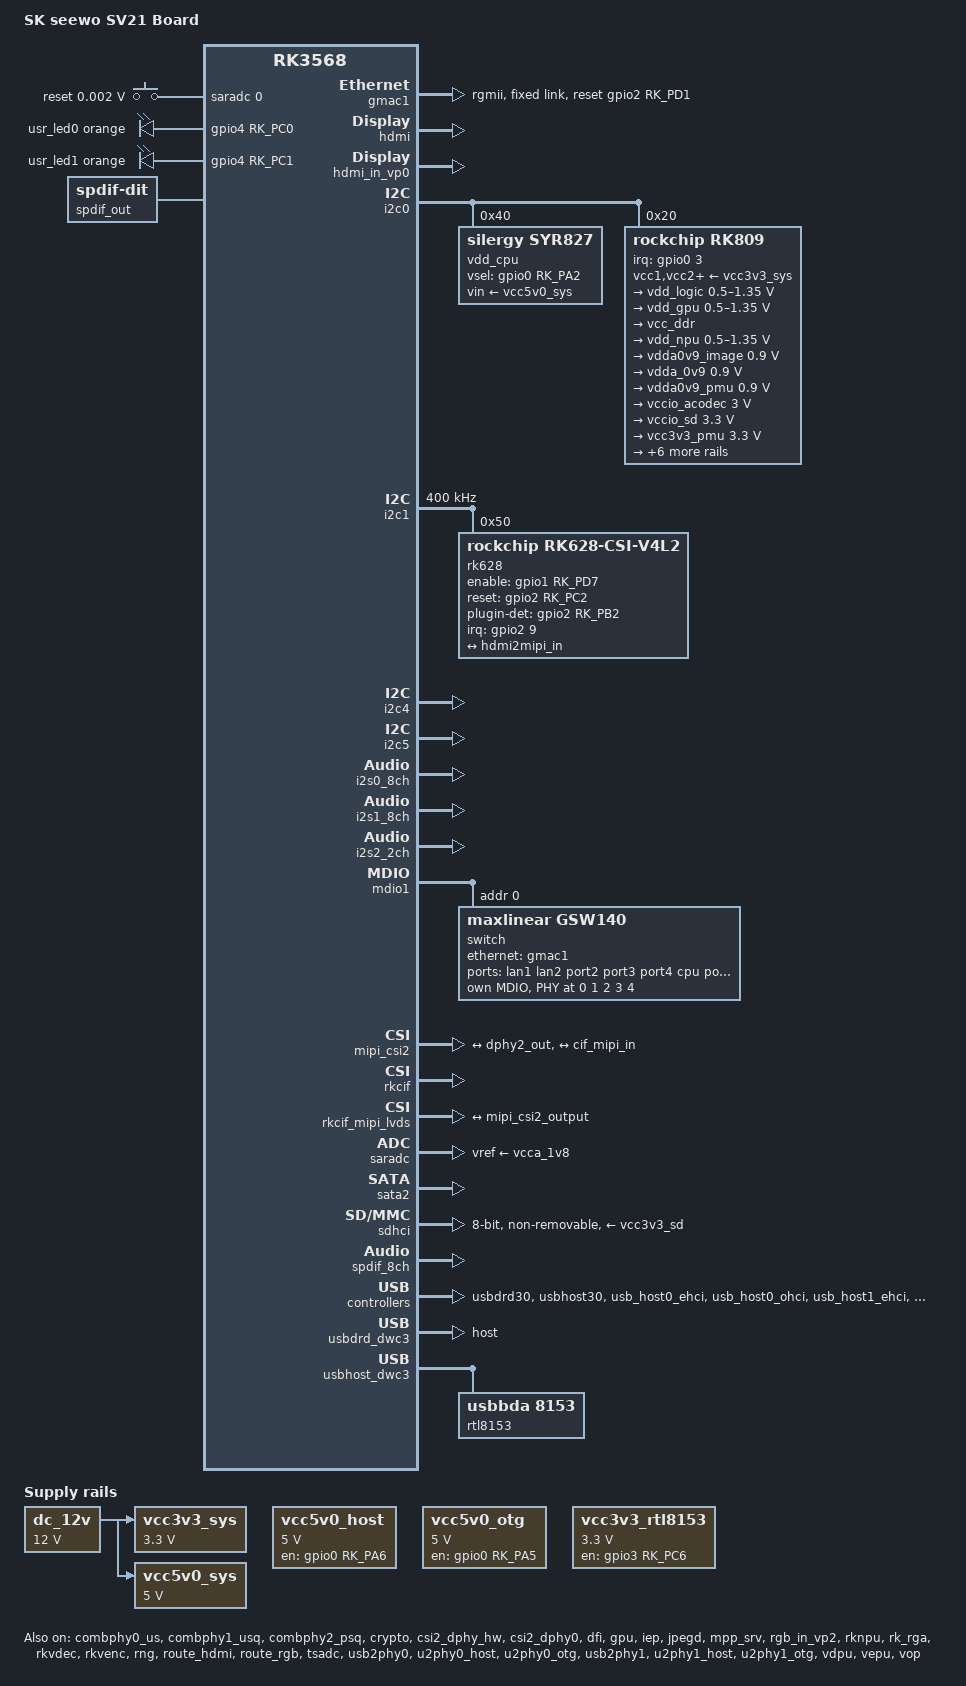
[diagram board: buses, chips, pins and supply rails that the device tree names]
// SPDX-License-Identifier: (GPL-2.0+ OR MIT)
/*
 * Copyright (c) 2020 Rockchip Electronics Co., Ltd.
 * Copyright (c) 2025 Sergey Kharenko
 */

 /dts-v1/;

 #include <dt-bindings/gpio/gpio.h>
 #include <dt-bindings/pwm/pwm.h>
 #include <dt-bindings/pinctrl/rockchip.h>
 #include <dt-bindings/input/rk-input.h>
 #include <dt-bindings/leds/common.h>
 #include <dt-bindings/display/drm_mipi_dsi.h>
 #include <dt-bindings/display/rockchip_vop.h>
 #include <dt-bindings/sensor-dev.h>
 #include "rk3568.dtsi"
 #include "rk3568-linux.dtsi"
 
/ {
	model = "SK seewo SV21 Board";
	compatible = "sk,svo", "rockchip,rk3568";

	aliases {
		ethernet0 = &rtl8153;
		ethernet1 = &gmac1;
	};

	chosen: chosen {
		bootargs = "earlycon=uart8250,mmio32,0xfe660000 console=ttyFIQ0";
	};

	adc_keys: adc-keys {
		compatible = "adc-keys";
		io-channels = <&saradc 0>;
		io-channel-names = "buttons";
		keyup-threshold-microvolt = <1800000>;
		poll-interval = <100>;

		reset-key {
			label = "reset";
			linux,code = <KEY_RESTART>;
			press-threshold-microvolt = <1750>;
		};
	};

	dc_12v: dc-12v-regulator {
		compatible = "regulator-fixed";
		regulator-name = "dc_12v";
		regulator-always-on;
		regulator-boot-on;
		regulator-min-microvolt = <12000000>;
		regulator-max-microvolt = <12000000>;
	};

	dummy_codec_rk628: dummy-codec-rk628 {
		status = "okay";
		compatible = "rockchip,dummy-codec";
		#sound-dai-cells = <0>;
	};

	firmware {
		optee: optee {
			compatible = "linaro,optee-tz";
			method = "smc";
		};
	};

	gpio_leds: gpio-leds {
		status = "okay";
		compatible = "gpio-leds";

		usr_led0: usr-led0 {
			gpios = <&gpio4 RK_PC0 GPIO_ACTIVE_HIGH>;
			function = LED_FUNCTION_HEARTBEAT;
			color = <LED_COLOR_ID_ORANGE>;
			linux,default-trigger = "heartbeat";
			pinctrl-names = "default";
			pinctrl-0 = <&usr_led0_pin>;
		};

		usr_led1: usr-led1 {
			gpios = <&gpio4 RK_PC1 GPIO_ACTIVE_HIGH>;
			function = LED_FUNCTION_DISK_ACTIVITY;
			color = <LED_COLOR_ID_ORANGE>;
			linux,default-trigger = "disk-activity";
			pinctrl-names = "default";
			pinctrl-0 = <&usr_led1_pin>;
		};
	};

	hdmi_sound: hdmi-sound {
		compatible = "simple-audio-card";
		simple-audio-card,format = "i2s";
		simple-audio-card,mclk-fs = <128>;
		simple-audio-card,name = "rockchip,hdmi";
		status = "okay";

		simple-audio-card,cpu {
			sound-dai = <&i2s0_8ch>;
		};

		simple-audio-card,codec {
			sound-dai = <&hdmi>;
		};
	};

	lt8618_sound: spdif-sound {
		status = "okay";
		compatible = "simple-audio-card";
		simple-audio-card,name = "ROCKCHIP,SPDIF";

		simple-audio-card,cpu {
			sound-dai = <&spdif_8ch>;
		};

		simple-audio-card,codec {
			sound-dai = <&spdif_out>;
		};
	};

	rk628_sound: rk628-sound {
		status = "okay";
		compatible = "simple-audio-card";
		simple-audio-card,format = "i2s";
		simple-audio-card,name = "rockchip,rk628-sound";
		simple-audio-card,mclk-fs = <256>;
		simple-audio-card,bitclock-master = <&rk628_master>;
		simple-audio-card,frame-master = <&rk628_master>;

		simple-audio-card,cpu {
			sound-dai = <&i2s2_2ch>;
		};

		rk628_master: simple-audio-card,codec {
			sound-dai = <&dummy_codec_rk628>;
		};
	};

	rk809_sound: rk809-sound {
		status = "okay";
		compatible = "simple-audio-card";
		simple-audio-card,format = "i2s";
		simple-audio-card,name = "rockchip,rk809-codec";
		simple-audio-card,mclk-fs = <256>;

		simple-audio-card,cpu {
			sound-dai = <&i2s1_8ch>;
		};

		simple-audio-card,codec {
			sound-dai = <&rk809_codec>;
		};
	};

	spdif_out: spdif-out {
		status = "okay";
		compatible = "linux,spdif-dit";
		#sound-dai-cells = <0>;
	};

	vcc3v3_sys: vcc3v3-sys {
		compatible = "regulator-fixed";
		regulator-name = "vcc3v3_sys";
		regulator-always-on;
		regulator-boot-on;
		regulator-min-microvolt = <3300000>;
		regulator-max-microvolt = <3300000>;
		vin-supply = <&dc_12v>;
	};

	vcc5v0_sys: vcc5v0-sys {
		compatible = "regulator-fixed";
		regulator-name = "vcc5v0_sys";
		regulator-always-on;
		regulator-boot-on;
		regulator-min-microvolt = <5000000>;
		regulator-max-microvolt = <5000000>;
		vin-supply = <&dc_12v>;
	};

	vcc5v0_host: vcc5v0-host-regulator {
		compatible = "regulator-fixed";
		regulator-name = "vcc5v0_host";
		regulator-boot-on;
		regulator-min-microvolt = <5000000>;
		regulator-max-microvolt = <5000000>;
		enable-active-high;
		gpio = <&gpio0 RK_PA6 GPIO_ACTIVE_HIGH>;
		pinctrl-names = "default";
		pinctrl-0 = <&vcc5v0_host_en>;
	};

	vcc5v0_otg: vcc5v0-otg-regulator {
		compatible = "regulator-fixed";
		regulator-name = "vcc5v0_otg";
		regulator-boot-on;
		regulator-min-microvolt = <5000000>;
		regulator-max-microvolt = <5000000>;
		enable-active-high;
		gpio = <&gpio0 RK_PA5 GPIO_ACTIVE_HIGH>;
		pinctrl-names = "default";
		pinctrl-0 = <&vcc5v0_otg_en>;
	};

	vcc3v3_rtl8153: vcc3v3-rtl8153-regulator {
		compatible = "regulator-fixed";
		regulator-name = "vcc3v3_rtl8153";
		regulator-boot-on;
		regulator-min-microvolt = <3300000>;
		regulator-max-microvolt = <3300000>;
		enable-active-high;
		gpio = <&gpio3 RK_PC6 GPIO_ACTIVE_HIGH>;
		pinctrl-names = "default";
		pinctrl-0 = <&vcc3v3_rtl8153_en>;
	};
};

&combphy0_us {
	status = "okay";
};

&combphy1_usq {
	vbus-supply = <&vcc3v3_rtl8153>;
	status = "okay";
};

&combphy2_psq {
	status = "okay";
};

&cpu0 {
	cpu-supply = <&vdd_cpu>;
};

&crypto {
	status = "okay";
};

&csi2_dphy_hw {
	status = "okay";
};

&csi2_dphy0 {
	status = "okay";

	ports {
		#address-cells = <0x01>;
		#size-cells = <0x00>;

		port@0 {
			reg = <0x00>;
			#address-cells = <0x01>;
			#size-cells = <0x00>;

			hdmi2mipi_in: endpoint@1 {
				reg = <0x01>;
				remote-endpoint = <&rk628_out>;
				data-lanes = <1 2 3 4>;
			};
		};

		port@1 {
			reg = <0x01>;
			#address-cells = <0x01>;
			#size-cells = <0x00>;

			dphy2_out: endpoint@1 {
				reg = <0x01>;
				remote-endpoint = <&mipi_csi2_input>;
			};
		};
	};
};

&dfi {
	status = "okay";
};

&gmac1 {
	status = "okay";
	// local-mac-address = [bc 6b ff 42 31 c7];
	phy-mode = "rgmii";
	clock_in_out = "output";
	snps,reset-gpio = <&gpio2 RK_PD1 GPIO_ACTIVE_HIGH>;
	snps,reset-active-high;
	snps,reset-delays-us = <0 1000000 2000000>;
	assigned-clocks = <&cru SCLK_GMAC1_RX_TX>, <&cru SCLK_GMAC1>;
	assigned-clock-parents = <&cru SCLK_GMAC1_RGMII_SPEED>, <&cru CLK_MAC1_2TOP>;
	assigned-clock-rates = <0>, <125000000>;

	pinctrl-names = "default";
	pinctrl-0 = <&gmac1m1_miim
		     &gmac1m1_tx_bus2
		     &gmac1m1_rx_bus2
		     &gmac1m1_rgmii_clk
		     &gmac1m1_rgmii_bus>;

	tx_delay = <0x2a>;
	rx_delay = <0x2a>;

	fixed-link {
		speed = <1000>;
		full-duplex;
	};
};

&gpu {
	mali-supply = <&vdd_gpu>;
	mem-supply = <&vdd_gpu>;
	status = "okay";
};

&hdmi {
	status = "okay";
	avdd-0v9-supply = <&vdda0v9_image>;
	avdd-1v8-supply = <&vcca1v8_image>;
	cec-enable = "true";
	rockchip,phy-table = 
						<92812500  0x8009 0x00 0x0270>,
						<165000000 0x800b 0x00 0x026d>,
						<185625000 0x800b 0x00 0x01ed>,
						<297000000 0x800b 0x00 0x01ad>,
						<594000000 0x8029 0x00 0x0088>,
						<000000000 0x0000 0x00 0x0000>;
};

&hdmi_in_vp0 {
	status = "okay";
};

&i2c0 {
	status = "okay";

	vdd_cpu: syr837@40 {
		compatible = "silergy,syr827";
		reg = <0x40>;
		vin-supply = <&vcc5v0_sys>;
		regulator-name = "vdd_cpu";
		pinctrl-0 = <&soc_slppin_gpio>;
		vsel-gpios = <&gpio0 RK_PA2 GPIO_ACTIVE_HIGH>;
		regulator-min-microvolt = <712500>;
		regulator-max-microvolt = <1500000>;
		regulator-ramp-delay = <1000>;
		fcs,suspend-voltage-selector = <1>;
		regulator-always-on;
		regulator-initial-state = <3>;

		regulator-state-mem {
			regulator-off-in-suspend;
		};
	};

	rk809: pmic@20 {
		compatible = "rockchip,rk809";
		reg = <0x20>;
		interrupt-parent = <&gpio0>;
		interrupts = <3 IRQ_TYPE_LEVEL_LOW>;
		pinctrl-names = "default", "pmic-sleep",
				"pmic-power-off", "pmic-reset";
		pinctrl-0 = <&pmic_int>;
		pinctrl-1 = <&soc_slppin_slp>, <&rk817_slppin_slp>;
		pinctrl-2 = <&soc_slppin_gpio>, <&rk817_slppin_pwrdn>;
		pinctrl-3 = <&soc_slppin_gpio>, <&rk817_slppin_rst>;

		rockchip,system-power-controller;
		wakeup-source;
		#clock-cells = <1>;
		clock-output-names = "rk808-clkout1", "rk808-clkout2";
		pmic-reset-func = <0>;
		not-save-power-en = <1>;
		vcc1-supply = <&vcc3v3_sys>;
		vcc2-supply = <&vcc3v3_sys>;
		vcc3-supply = <&vcc3v3_sys>;
		vcc4-supply = <&vcc3v3_sys>;
		vcc5-supply = <&vcc3v3_sys>;
		vcc6-supply = <&vcc3v3_sys>;
		vcc7-supply = <&vcc3v3_sys>;
		vcc8-supply = <&vcc3v3_sys>;
		vcc9-supply = <&vcc3v3_sys>;

		pwrkey {
			status = "okay";
		};

		pinctrl_rk8xx: pinctrl_rk8xx {
			gpio-controller;
			#gpio-cells = <2>;

			rk817_slppin_null: rk817_slppin_null {
				pins = "gpio_slp";
				function = "pin_fun0";
			};

			rk817_slppin_slp: rk817_slppin_slp {
				pins = "gpio_slp";
				function = "pin_fun1";
			};

			rk817_slppin_pwrdn: rk817_slppin_pwrdn {
				pins = "gpio_slp";
				function = "pin_fun2";
			};

			rk817_slppin_rst: rk817_slppin_rst {
				pins = "gpio_slp";
				function = "pin_fun3";
			};
		};

		regulators {
			vdd_logic: DCDC_REG1 {
				regulator-always-on;
				regulator-boot-on;
				regulator-min-microvolt = <500000>;
				regulator-max-microvolt = <1350000>;
				regulator-init-microvolt = <900000>;
				regulator-ramp-delay = <6001>;
				regulator-initial-mode = <0x2>;
				regulator-name = "vdd_logic";

				regulator-state-mem {
					regulator-off-in-suspend;
				};
			};

			vdd_gpu: DCDC_REG2 {
				regulator-always-on;
				regulator-boot-on;
				regulator-min-microvolt = <500000>;
				regulator-max-microvolt = <1350000>;
				regulator-init-microvolt = <900000>;
				regulator-ramp-delay = <6001>;
				regulator-initial-mode = <0x2>;
				regulator-name = "vdd_gpu";

				regulator-state-mem {
					regulator-off-in-suspend;
				};
			};

			vcc_ddr: DCDC_REG3 {
				regulator-always-on;
				regulator-boot-on;
				regulator-initial-mode = <0x2>;
				regulator-name = "vcc_ddr";

				regulator-state-mem {
					regulator-on-in-suspend;
				};
			};

			vdd_npu: DCDC_REG4 {
				regulator-always-on;
				regulator-boot-on;
				regulator-min-microvolt = <500000>;
				regulator-max-microvolt = <1350000>;
				regulator-init-microvolt = <900000>;
				regulator-ramp-delay = <6001>;
				regulator-initial-mode = <0x2>;
				regulator-name = "vdd_npu";

				regulator-state-mem {
					regulator-off-in-suspend;
				};
			};

			vdda0v9_image: LDO_REG1 {
				regulator-boot-on;
				regulator-always-on;
				regulator-min-microvolt = <900000>;
				regulator-max-microvolt = <900000>;
				regulator-name = "vdda0v9_image";

				regulator-state-mem {
					regulator-off-in-suspend;
				};
			};

			vdda_0v9: LDO_REG2 {
				regulator-always-on;
				regulator-boot-on;
				regulator-min-microvolt = <900000>;
				regulator-max-microvolt = <900000>;
				regulator-name = "vdda_0v9";

				regulator-state-mem {
					regulator-off-in-suspend;
				};
			};

			vdda0v9_pmu: LDO_REG3 {
				regulator-always-on;
				regulator-boot-on;
				regulator-min-microvolt = <900000>;
				regulator-max-microvolt = <900000>;
				regulator-name = "vdda0v9_pmu";

				regulator-state-mem {
					regulator-on-in-suspend;
					regulator-suspend-microvolt = <900000>;
				};
			};

			vccio_acodec: LDO_REG4 {
				regulator-always-on;
				regulator-boot-on;
				regulator-min-microvolt = <3000000>;
				regulator-max-microvolt = <3000000>;
				regulator-name = "vccio_acodec";

				regulator-state-mem {
					regulator-off-in-suspend;
				};
			};

			vccio_sd: LDO_REG5 {
				regulator-always-on;
				regulator-boot-on;
				regulator-min-microvolt = <3300000>;
				regulator-max-microvolt = <3300000>;
				regulator-name = "vccio_sd";

				regulator-state-mem {
					regulator-off-in-suspend;
				};
			};

			vcc3v3_pmu: LDO_REG6 {
				regulator-always-on;
				regulator-boot-on;
				regulator-min-microvolt = <3300000>;
				regulator-max-microvolt = <3300000>;
				regulator-name = "vcc3v3_pmu";

				regulator-state-mem {
					regulator-on-in-suspend;
					regulator-suspend-microvolt = <3300000>;
				};
			};

			vcca_1v8: LDO_REG7 {
				regulator-always-on;
				regulator-boot-on;
				regulator-min-microvolt = <1800000>;
				regulator-max-microvolt = <1800000>;
				regulator-name = "vcca_1v8";

				regulator-state-mem {
					regulator-off-in-suspend;
				};
			};

			vcca1v8_pmu: LDO_REG8 {
				regulator-always-on;
				regulator-boot-on;
				regulator-min-microvolt = <1800000>;
				regulator-max-microvolt = <1800000>;
				regulator-name = "vcca1v8_pmu";

				regulator-state-mem {
					regulator-on-in-suspend;
					regulator-suspend-microvolt = <1800000>;
				};
			};

			vcca1v8_image: LDO_REG9 {
				regulator-always-on;
				regulator-boot-on;
				regulator-min-microvolt = <1800000>;
				regulator-max-microvolt = <1800000>;
				regulator-name = "vcca1v8_image";

				regulator-state-mem {
					regulator-off-in-suspend;
				};
			};

			vcc_1v8: DCDC_REG5 {
				regulator-always-on;
				regulator-boot-on;
				regulator-min-microvolt = <1800000>;
				regulator-max-microvolt = <1800000>;
				regulator-name = "vcc_1v8";

				regulator-state-mem {
					regulator-off-in-suspend;
				};
			};

			vcc_3v3: SWITCH_REG1 {
				regulator-always-on;
				regulator-boot-on;
				regulator-name = "vcc_3v3";

				regulator-state-mem {
					regulator-off-in-suspend;
				};
			};

			vcc3v3_sd: SWITCH_REG2 {
				regulator-always-on;
				regulator-boot-on;
				regulator-name = "vcc3v3_sd";

				regulator-state-mem {
					regulator-off-in-suspend;
				};
			};
		};

		rk809_codec: codec {
			#sound-dai-cells = <0>;
			compatible = "rockchip,rk809-codec", "rockchip,rk817-codec";
			clocks = <&cru I2S1_MCLKOUT>;
			clock-names = "mclk";
			assigned-clocks = <&cru I2S1_MCLKOUT>, <&cru I2S1_MCLK_TX_IOE>;
			assigned-clock-rates = <12288000>;
			assigned-clock-parents = <&cru I2S1_MCLKOUT_TX>, <&cru I2S1_MCLKOUT_TX>;
			pinctrl-names = "default";
			pinctrl-0 = <&i2s1m0_mclk>;
			hp-volume = <20>;
			spk-volume = <7>;
			dac-volume = <20>;
			mic-in-differential;
			status = "okay";
		};
	};
};

&i2c1 {
	status = "okay";
	clock-frequency = <400000>;

	rk628: rk628@50 {
		compatible = "rockchip,rk628-csi-v4l2";
		reg = <0x50>;
		pinctrl-names = "default";
		pinctrl-0 = <&rk628_gpio>;
		interrupt-parent = <&gpio2>;
		interrupts = <9 IRQ_TYPE_LEVEL_HIGH>;
		enable-gpios = <&gpio1 RK_PD7 GPIO_ACTIVE_HIGH>;
		reset-gpios = <&gpio2 RK_PC2 GPIO_ACTIVE_HIGH>;
		plugin-det-gpios = <&gpio2 RK_PB2 GPIO_ACTIVE_HIGH>;

		scaler-en = <1>;
		rockchip,camera-module-index = <0>;
		rockchip,camera-module-facing = "back";
		rockchip,camera-module-name = "RK628-CSI";
		rockchip,camera-module-lens-name = "NC";
		status = "okay";

		port {
			rk628_out: endpoint {
				remote-endpoint = <&hdmi2mipi_in>;
				data-lanes = <1 2 3 4>;
			};
		};
	};
	
	// lt8618: lt8618@39 {
	// 	compatible = "lontium,lt8618";
	// 	reg = <0x39>;
	// 	pinctrl-names = "default";
	// 	pinctrl-0 = <&lt8618_gpio>;
	// 	interrupt-parent = <&gpio2>;
	// 	interrupts = <7 IRQ_TYPE_LEVEL_HIGH>;
	// 	reset-gpios = <&gpio2 RK_PB0 GPIO_ACTIVE_HIGH>;
	// 	// #enable-gpio = <&gpio0 RK_PC1 GPIO_ACTIVE_HIGH>;

	// 	ports {
	// 		#address-cells = <0x01>;
	// 		#size-cells = <0x00>;

	// 		port@0 {
	// 			reg = <0x00>;

	// 			lt8618_in_rgb: endpoint {
	// 				remote-endpoint = <&rgb_out_lt8618>;
	// 			};
	// 		};
	// 	};
	// };
};

&i2c4 {
	status = "okay";
};

&i2c5 {
	status = "okay";
};

&i2s0_8ch {
	status = "okay";
};

&i2s1_8ch {
	status = "okay";
	rockchip,clk-trcm = <1>;
	pinctrl-names = "default";
	pinctrl-0 = <&i2s1m0_sclktx &i2s1m0_lrcktx &i2s1m0_lrckrx &i2s1m0_sdi0 &i2s1m0_sdo0>;
};

&i2s2_2ch {
	status = "okay";
	rockchip,capture-only;
	pinctrl-names = "default";
	pinctrl-0 = <&i2s2m0_sclkrx &i2s2m0_lrckrx &i2s2m0_sdi>;
};

&iep {
	status = "okay";
};

&iep_mmu {
	status = "okay";
};

&jpegd {
	status = "okay";
};

&jpegd_mmu {
	status = "okay";
};

&mdio1 {
	suppress-preamble;
	status = "okay";
	switch: switch@0 {
		compatible = "maxlinear,gsw140";
		reg = <0>;

		ports {
			#address-cells = <1>;
			#size-cells = <0>;
			
			rx_mii_delay = /bits/ 8 <0x2a>;
			tx_mii_delay = /bits/ 8 <0x2a>;

			port0: port@0 {
				reg = <0>;
				compatible = "lantiq,phy11g", "ethernet-phy-ieee802.3-c22";
				label = "lan1";
				phy-handle = <&switchphy0>;
				phy-mode = "internal";
				status = "okay";
			};

			port1: port@1 {
				reg = <1>;
				compatible = "lantiq,phy11g", "ethernet-phy-ieee802.3-c22";
				label = "lan2";
				phy-handle = <&switchphy1>;
				phy-mode = "internal";
				status = "okay";
			};

			port2: port@2 {
				reg = <2>;
				label = "port2";
				phy-handle = <&switchphy2>;
				status = "disabled";
			};

			port3: port@3 {
				reg = <3>;
				label = "port3";
				phy-handle = <&switchphy3>;
				status = "disabled";
			};

			port4: port@4 {
				reg = <4>;
				label = "port4";
				phy-mode = "sgmii";
				phy-handle = <&switchphy4>;
				status = "disabled";
			};

			port5: port@5 {
				reg = <5>;
				label = "cpu";
				phy-mode = "rgmii";
				ethernet = <&gmac1>;
				fixed-link {
					speed = <1000>;
					full-duplex;
				};
			};

			port6: port@6 {
				reg = <6>;
				label = "port6";
				status = "disabled";
			};
		};

		mdio {
			#address-cells = <1>;
			#size-cells = <0>;

			switchphy0: switchphy@0 {
				reg = <0>;
			};

			switchphy1: switchphy@1 {
				reg = <1>;
			};

			switchphy2: switchphy@2 {
				reg = <2>;
			};

			switchphy3: switchphy@3 {
				reg = <3>;
			};

			switchphy4: switchphy@4 {
				reg = <4>;
			};
		};
	};
};

&mipi_csi2 {
	status = "okay";

	ports {
		#address-cells = <1>;
		#size-cells = <0>;

		port@0 {
			reg = <0>;
			#address-cells = <1>;
			#size-cells = <0>;

			mipi_csi2_input: endpoint@1 {
				reg = <1>;
				remote-endpoint = <&dphy2_out>;
				data-lanes = <1 2 3 4>;
			};
		};

		port@1 {
			reg = <1>;
			#address-cells = <1>;
			#size-cells = <0>;

			mipi_csi2_output: endpoint@0 {
				reg = <0>;
				remote-endpoint = <&cif_mipi_in>;
				data-lanes = <1 2 3 4>;
			};
		};
	};
};

&mpp_srv {
	status = "okay";
};

&pinctrl {
	leds {
		usr_led0_pin: usr-led0-pin {
			rockchip,pins = <4 RK_PC0 RK_FUNC_GPIO &pcfg_pull_none>;
		};

		usr_led1_pin: usr-led1-pin {
			rockchip,pins = <4 RK_PC1 RK_FUNC_GPIO &pcfg_pull_none>;
		};
	};

	lt8618 {
		lt8618_gpio: lt8618-gpio {
			rockchip,pins = <2 RK_PA7 RK_FUNC_GPIO &pcfg_pull_up>,
							<2 RK_PB0 RK_FUNC_GPIO &pcfg_pull_none>;
		};
	};

	pmic {
		pmic_int: pmic_int {
			rockchip,pins = <0 RK_PA3 RK_FUNC_GPIO &pcfg_pull_up>;
		};

		soc_slppin_gpio: soc_slppin_gpio {
			rockchip,pins = <0 RK_PA2 RK_FUNC_GPIO &pcfg_output_low>;
		};

		soc_slppin_slp: soc_slppin_slp {
			rockchip,pins = <0 RK_PA2 1 &pcfg_pull_none>;
		};

		soc_slppin_rst: soc_slppin_rst {
			rockchip,pins = <0 RK_PA2 2 &pcfg_pull_none>;
		};
	};

	rk628 {
		rk628_gpio: rk628-gpio {
			rockchip,pins = <2 RK_PB1 RK_FUNC_GPIO &pcfg_pull_up>,
							<1 RK_PD7 RK_FUNC_GPIO &pcfg_pull_up>,
							<2 RK_PC2 RK_FUNC_GPIO &pcfg_pull_none>,
							<2 RK_PB2 RK_FUNC_GPIO &pcfg_pull_none>;
		};
	};

	usb {
		vcc5v0_host_en: vcc5v0-host-en {
			rockchip,pins = <0 RK_PA6 RK_FUNC_GPIO &pcfg_pull_none>;
		};

		vcc5v0_otg_en: vcc5v0-otg-en {
			rockchip,pins = <0 RK_PA5 RK_FUNC_GPIO &pcfg_pull_none>;
		};

		vcc3v3_rtl8153_en: vcc3v3-rtl8153-en {
			rockchip,pins = <3 RK_PC6 RK_FUNC_GPIO &pcfg_pull_down>;
		};
	};
};

&pmu_io_domains {
	pmuio1-supply = <&vcc3v3_pmu>;
	pmuio2-supply = <&vcc3v3_pmu>;
	vccio1-supply = <&vccio_acodec>;
	vccio2-supply = <&vcc_1v8>;
	vccio3-supply = <&vccio_sd>;
	vccio4-supply = <&vcc_3v3>;
	vccio5-supply = <&vcc_3v3>;
	vccio6-supply = <&vcc_3v3>;
	vccio7-supply = <&vcc_3v3>;
	status = "okay";
};

&pwm7 {
	// status = "okay";

};

&reserved_memory {
	linux,cma {
		compatible = "shared-dma-pool";
		inactive;
		reusable;
		reg = <0x00 0x10000000 0x00 0x800000>;
		linux,cma-default;
	};
};

// &rgb {
// 	status = "okay";
// 	pinctrl-names = "default";
// 	pinctrl-0 = <&bt1120_pins>;

// 	ports {
// 		port@1 {
// 			reg = <1>;
// 			#address-cells = <1>;
// 			#size-cells = <0>;

// 			rgb_out_lt8618: endpoint@0 {
// 				reg = <0>;
// 				remote-endpoint = <&lt8618_in_rgb>;
// 			};
// 		};
// 	};
// };

&rkcif {
	status = "okay";
};

&rkcif_mmu {
	status = "okay";
};

&rkcif_mipi_lvds {
	status = "okay";

	port {
		cif_mipi_in: endpoint {
			remote-endpoint = <&mipi_csi2_output>;
			data-lanes = <1 2 3 4>;
		};
	};
};

&rgb_in_vp2 {
	status = "okay";
};

&rknpu {
	rknpu-supply = <&vdd_npu>;
	mem-supply = <&vdd_npu>;
	status = "okay";
};

&rknpu_mmu {
	status = "okay";
};

&rk_rga {
	status = "okay";
};

&rkvdec {
	vdec-supply = <&vdd_logic>;
	status = "okay";
};

&rkvdec_mmu {
	status = "okay";
};

&rkvenc {
	venc-supply = <&vdd_logic>;
	status = "okay";
};

&rkvenc_mmu {
	status = "okay";
};

&rng {
	status = "okay";
};

&route_hdmi {
	connect = <&vp0_out_hdmi>;
	status = "okay";
};

&route_rgb {
	connect = <&vp2_out_rgb>;
	status = "okay";
};

&saradc {
	status = "okay";
	vref-supply = <&vcca_1v8>;
};

&sata2 {
	status = "okay";
};

&sdhci {
	status = "okay";
	bus-width = <8>;
	supports-emmc;
	non-removable;
	vmmc-supply = <&vcc3v3_sd>;
	vqmmc-supply = <&vccio_sd>;
	max-frequency = <200000000>;
};

// &sfc {
// 	status = "okay";
// };

&spdif_8ch {
	pinctrl-names = "default";
	pinctrl-0 = <&spdifm1_tx>;
	status = "okay";
};

&tsadc {
	status = "okay";
};

// &uart0 {
// 	status = "okay";
// };

// &uart1 {
// 	status = "okay";
// };

// &uart3 {
// 	pinctrl-names = "default";
// 	pinctrl-0 = <&uart3m1_xfer>;
// 	status = "okay";
// };

// &uart5 {
// 	status = "okay";
// };

&uart6 {
	pinctrl-names = "default";
	pinctrl-0 = <&uart6m1_xfer>;
	// status = "okay";
};

&usb2phy0 {
	status = "okay";
};

&u2phy0_host {
	phy-supply = <&vcc3v3_rtl8153>;
	status = "okay";
};

&u2phy0_otg {
	phy-supply = <&vcc5v0_otg>;
	vbus-supply = <&vcc5v0_otg>;
	status = "okay";
};

&usb2phy1 {
	status = "okay";
};

&u2phy1_host {
	phy-supply = <&vcc5v0_host>;
	status = "okay";
};

&u2phy1_otg {
	phy-supply = <&vcc5v0_host>;
	vbus-supply = <&vcc5v0_host>;
	status = "okay";
};

&usbdrd30 {
	status = "okay";
};

&usbdrd_dwc3 {
	snps,xhci-trb-ent-quirk;
	dr_mode = "host";
	extcon = <&usb2phy0>;
	status = "okay";
};

&usbhost30 {
	status = "okay";
};

&usbhost_dwc3 {
	status = "okay";

	rtl8153: rtl8153 {
		compatible = "usbbda,8153";
		non-removable;
		realtek,led-data = <0x87>;
	};
};

&usb_host0_ehci {
	status = "okay";
};

&usb_host0_ohci {
	status = "okay";
};

&usb_host1_ehci {
	status = "okay";
};

&usb_host1_ohci {
	status = "okay";
};

&vdpu {
	status = "okay";
};

&vdpu_mmu {
	status = "okay";
};

&vepu {
	status = "okay";
};

&vepu_mmu {
	status = "okay";
};

&vop {
	status = "okay";
	vop-supply = <&vdd_logic>;
	assigned-clocks = <&cru DCLK_VOP0>, <&cru DCLK_VOP1>, <&cru DCLK_VOP2>;
	assigned-clock-parents = <&pmucru PLL_HPLL>, <&cru PLL_VPLL>, <&cru PLL_GPLL>;
	support-multi-area;
};

&vop_mmu {
	status = "okay";
};
